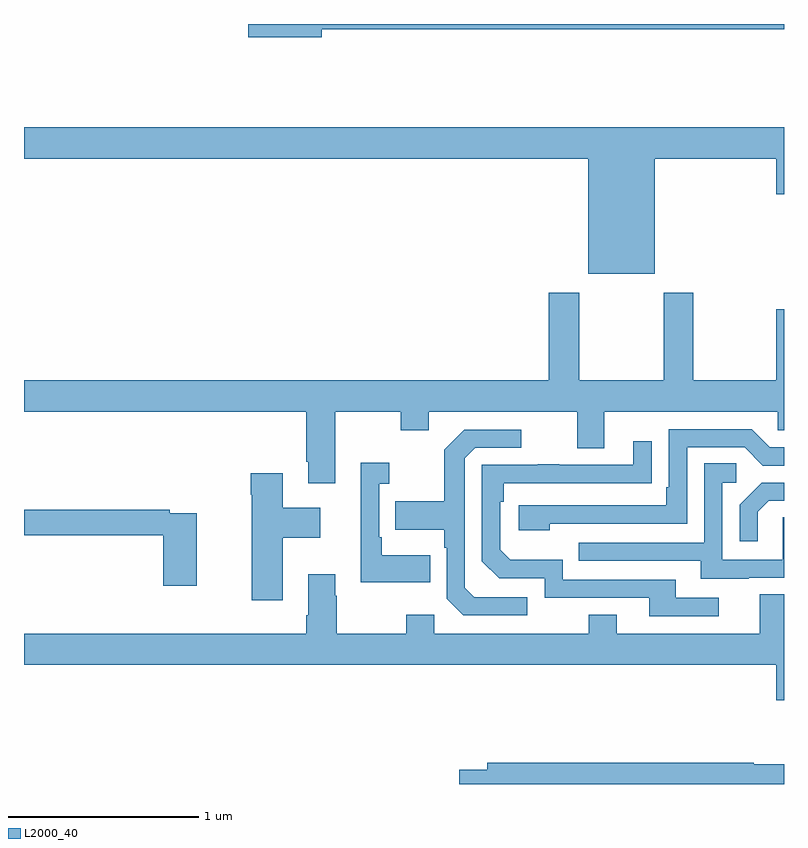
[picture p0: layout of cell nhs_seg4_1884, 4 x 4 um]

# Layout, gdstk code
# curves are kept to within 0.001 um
import gdstk
lib = gdstk.Library(unit=1e-6, precision=1e-09)
def P(c, l, *ps):  # polygons
    for p in ps: c.add(gdstk.Polygon(p, *l))
L2000_40 = (2000, 40)

nhs_seg4_1884 = lib.new_cell('nhs_seg4_1884')
P(nhs_seg4_1884, L2000_40, [(210.568,758.872),(213,758.872),(213,758.9),(210.18,758.9),(210.18,758.83),(210.568,758.83)],
  [(212.32,758.192),(212.96,758.192),(212.96,758.004),(213,758.004),(213,758.356),(209,758.356),(209,758.192),(211.97,758.192),(211.97,757.586),(212.32,757.586)],
  [(210.637,756.86),(210.982,756.86),(210.982,756.761),(211.129,756.761),(211.129,756.86),(211.913,756.86),(211.913,756.666),(212.053,756.666),(212.053,756.86),(212.967,756.86),(212.967,756.762),(213,756.762),(213,757.399),(212.96,757.399),(212.96,757.024),(212.523,757.024),(212.523,757.486),(212.368,757.486),(212.368,757.024),(211.923,757.024),(211.923,757.486),(211.763,757.486),(211.763,757.024),(209,757.024),(209,756.86),(210.485,756.86),(210.485,756.595),(210.497,756.595),(210.497,756.483),(210.637,756.483)],
  [(211.766,756.27),(212.49,756.27),(212.49,756.672),(212.793,756.672),(212.889,756.576),(213,756.576),(213,756.672),(212.925,756.672),(212.829,756.768),(212.394,756.768),(212.394,756.463),(212.381,756.463),(212.381,756.366),(211.605,756.366),(211.605,756.236),(211.766,756.236)],
  [(211.648,755.883),(211.371,755.883),(211.32,755.934),(211.32,756.615),(211.374,756.669),(211.618,756.669),(211.618,756.765),(211.317,756.765),(211.212,756.659),(211.212,756.387),(210.955,756.387),(210.955,756.239),(211.212,756.239),(211.212,756.143),(211.224,756.143),(211.224,755.874),(211.311,755.787),(211.648,755.787)],
  [(212.656,755.88),(212.431,755.88),(212.431,755.976),(211.836,755.976),(211.836,756.079),(211.559,756.079),(211.506,756.132),(211.506,756.386),(211.526,756.386),(211.526,756.483),(212.303,756.484),(212.303,756.703),(212.207,756.703),(212.207,756.579),(211.817,756.579),(211.817,756.584),(211.705,756.584),(211.705,756.579),(211.41,756.579),(211.41,756.072),(211.5,755.982),(211.74,755.982),(211.74,755.88),(212.291,755.88),(212.291,755.784),(212.656,755.784)],
  [(211.139,756.103),(210.883,756.103),(210.883,756.199),(210.87,756.199),(210.87,756.479),(210.922,756.479),(210.922,756.592),(210.773,756.592),(210.773,755.963),(211.139,755.963)],
  [(212.815,755.985),(213,755.985),(213,756.305),(212.994,756.305),(212.994,756.081),(212.676,756.081),(212.676,756.486),(212.749,756.486),(212.749,756.587),(212.58,756.587),(212.58,756.171),(211.921,756.171),(211.921,756.075),(212.561,756.075),(212.561,755.981),(212.815,755.981)],
  [(210.361,756.197),(210.559,756.197),(210.559,756.355),(210.361,756.355),(210.361,756.535),(210.194,756.535),(210.194,756.422),(210.199,756.422),(210.199,755.868),(210.361,755.868)],
  [(212.863,756.333),(212.92,756.39),(213,756.39),(213,756.486),(212.882,756.486),(212.766,756.37),(212.766,756.177),(212.863,756.177)],
  [(209.91,756.324),(209.768,756.324),(209.768,756.344),(209,756.344),(209,756.208),(209.732,756.208),(209.732,755.943),(209.91,755.943)],
  [(213,755.9),(212.873,755.9),(212.873,755.692),(212.119,755.692),(212.119,755.791),(211.972,755.791),(211.972,755.692),(211.158,755.692),(211.158,755.791),(211.012,755.791),(211.012,755.692),(210.645,755.692),(210.645,755.891),(210.637,755.891),(210.637,756.004),(210.497,756.004),(210.497,755.788),(210.485,755.788),(210.485,755.692),(209,755.692),(209,755.528),(212.96,755.528),(212.96,755.34),(213,755.34)],
  [(213,755.005),(212.842,755.005),(212.842,755.012),(211.439,755.012),(211.439,754.976),(211.29,754.976),(211.29,754.9),(213,754.9)])

lib.write_gds('nhs_seg4_1884.gds')
